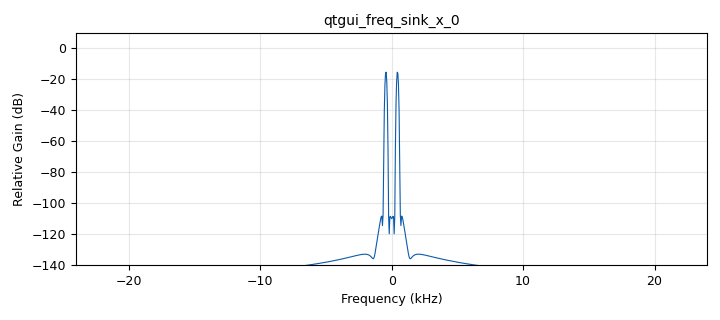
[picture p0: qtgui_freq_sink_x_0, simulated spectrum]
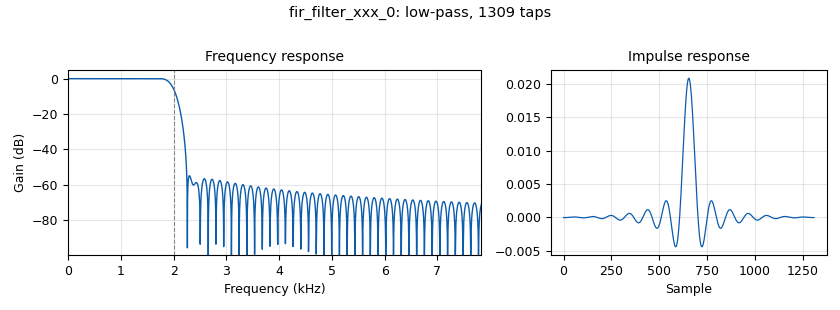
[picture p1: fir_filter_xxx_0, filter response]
options:
  parameters:
    generate_options: qt_gui
    id: top_block
    output_language: python
  states: {}

blocks:
- name: freq
  id: variable_qtgui_range
  parameters:
    orient: Qt.Horizontal
    start: '0'
    step: '100'
    stop: 100e3
    value: '440'
  states: {}
- name: samp_rate
  id: variable
  parameters:
    value: 48000*4
  states: {}
- name: taps
  id: variable
  parameters:
    comment: filter.firdes.low_pass_2(1, samp_rate, 2000, 1000, 150)
    value: filter.firdes.low_pass_2(1, samp_rate, 2000, 1000, 150)
  states: {}
- name: analog_sig_source_x_0
  id: analog_sig_source_x
  parameters:
    amp: '1'
    freq: freq
    offset: '0'
    phase: '0'
    samp_rate: samp_rate
    type: float
    waveform: analog.GR_COS_WAVE
  states: {}
- name: audio_sink_0
  id: audio_sink
  parameters:
    samp_rate: int(samp_rate/4)
  states: {}
- name: fir_filter_xxx_0
  id: fir_filter_xxx
  parameters:
    decim: '4'
    taps: taps
    type: fff
  states: {}
- name: qtgui_freq_sink_x_0
  id: qtgui_freq_sink_x
  parameters:
    bw: samp_rate/4
    fc: '0'
    fftsize: '1024'
    showports: 'True'
    type: float
    wintype: firdes.WIN_BLACKMAN_hARRIS
  states: {}

connections:
- [analog_sig_source_x_0, '0', fir_filter_xxx_0, '0']
- [fir_filter_xxx_0, '0', audio_sink_0, '0']
- [fir_filter_xxx_0, '0', qtgui_freq_sink_x_0, '0']

metadata:
  file_format: 1
